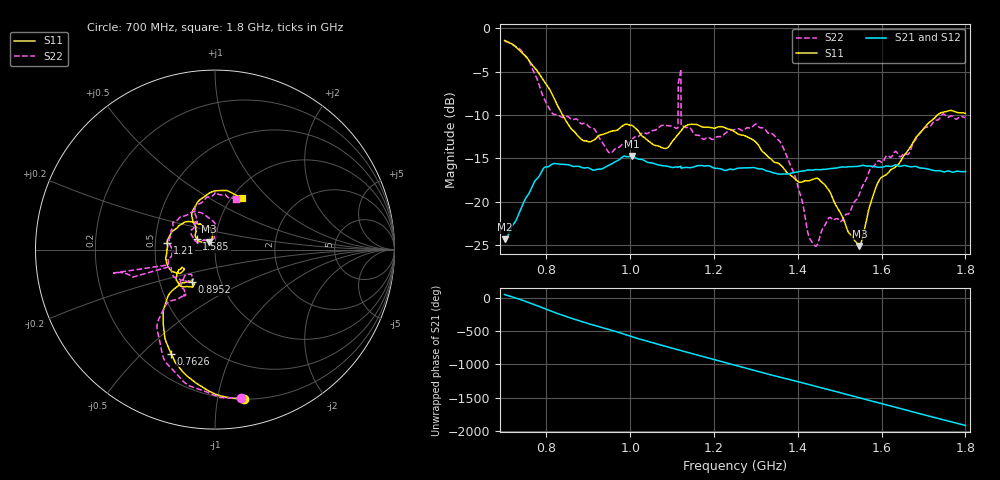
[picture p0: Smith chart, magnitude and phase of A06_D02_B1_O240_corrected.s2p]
! Created with skrf 1.9.0 (http://scikit-rf.org).
# Hz S RI R 50.0
!freq ReS11 ImS11 ReS21 ImS21 ReS12 ImS12 ReS22 ImS22
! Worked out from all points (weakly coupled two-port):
!   1601 points, 700 MHz to 1.8 GHz, reference 50 ohm
!   highest |S21| = -14.73 dB at 1.003 GHz (marker M1); lowest = -24.3 dB at 700.7 MHz (marker M2)
!   lowest |S11| = -25.1 dB at 1.547 GHz (marker M3), VSWR 1.12, Z = 46.5 + j4.09 ohm
!   |S11| at or under -10 dB: 838.4 MHz to 1.734 GHz (895.3 MHz wide, 69.6 % of centre)
!   |S22| runs from -25.1 to -1.5 dB; largest |S21 - S12| = 0.0035
!   S11 on the Smith chart (normalised r, x): 700 MHz: 0.20, -1.19; 762.6 MHz: 0.32, -0.61; 895.2 MHz: 0.72, -0.28; 1.21 GHz: 0.58, +0.04; 1.585 GHz: 0.81, +0.10; 1.8 GHz: 1.11, +0.71
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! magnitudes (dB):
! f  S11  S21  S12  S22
! 700 MHz  -1.4  -24.3  -24.1  -1.5
! 700.7 MHz  -1.4  -24.3  -24.0  -1.5
! 762.6 MHz  -4.0  -18.6  -18.6  -4.2
! 812.1 MHz  -7.5  -15.7  -15.7  -9.7
! 883.6 MHz  -12.8  -16.1  -16.0  -11.0
! 895.2 MHz  -13.0  -16.1  -16.2  -11.0
! 950.9 MHz  -11.9  -15.8  -15.8  -14.4
! 1.003 GHz  -11.2  -14.7  -14.9  -12.9
! 1.067 GHz  -13.6  -15.8  -15.7  -11.5
! 1.108 GHz  -12.6  -16.0  -16.1  -11.5
! 1.12 GHz  -11.9  -15.9  -15.8  -4.9
! 1.127 GHz  -11.5  -16.1  -16.1  -11.3
! 1.21 GHz  -11.4  -16.2  -16.2  -12.5
! 1.25 GHz  -12.0  -16.3  -16.2  -11.7
! 1.358 GHz  -15.8  -16.8  -16.8  -13.1
! 1.434 GHz  -17.5  -16.4  -16.3  -24.7
! 1.471 GHz  -18.5  -16.2  -16.2  -22.1
! 1.547 GHz  -25.1  -15.9  -15.9  -19.1
! 1.585 GHz  -18.6  -16.0  -16.0  -15.7
! 1.617 GHz  -16.6  -15.9  -15.9  -14.8
! 1.735 GHz  -10.0  -16.4  -16.5  -10.6
! 1.8 GHz  -9.8  -16.5  -16.5  -10.3
